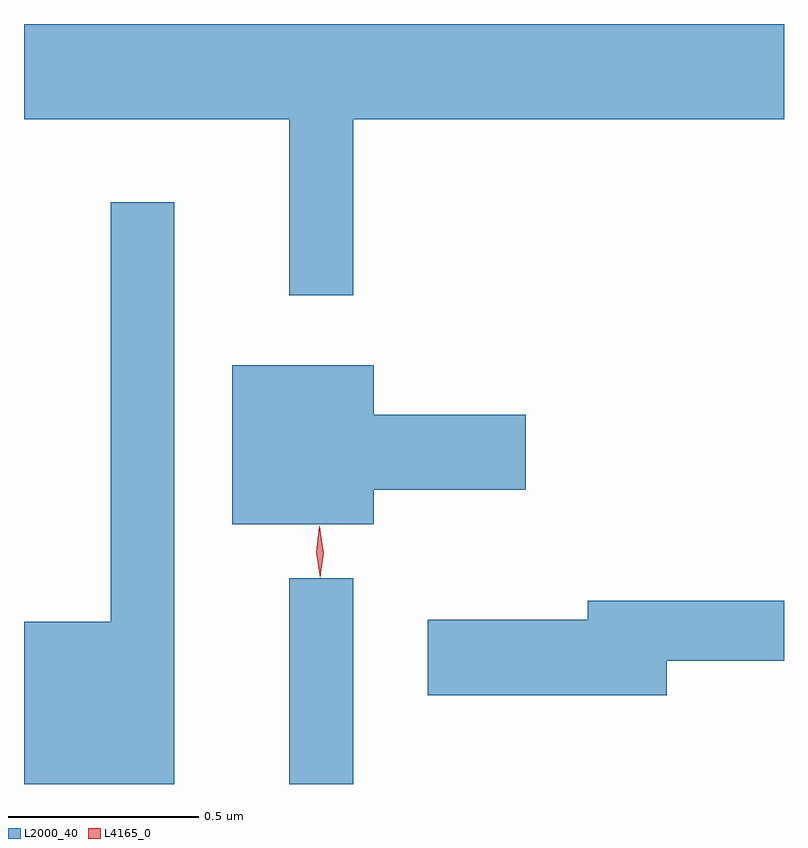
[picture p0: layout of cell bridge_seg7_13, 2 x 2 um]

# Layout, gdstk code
import gdstk
lib = gdstk.Library(unit=1e-6, precision=1e-09)
def R(c, l, rs):  # rectangles x0, y0, x1, y1
    for r in rs: c.add(gdstk.rectangle(r[:2], r[2:], *l))
def P(c, l, *ps):  # polygons
    for p in ps: c.add(gdstk.Polygon(p, *l))
L2000_40 = (2000, 40)
L4165_0 = (4165, 0)

bridge_seg7_13 = lib.new_cell('bridge_seg7_13')
R(bridge_seg7_13, L2000_40, [(1690.831,1768.067,1690.999,1768.608)])
P(bridge_seg7_13, L2000_40, [(1690.999,1769.816),(1692.133,1769.816),(1692.133,1770.067),(1690.133,1770.067),(1690.133,1769.816),(1690.831,1769.816),(1690.831,1769.353),(1690.999,1769.353)],
  [(1690.529,1769.598),(1690.361,1769.598),(1690.361,1768.494),(1690.133,1768.494),(1690.133,1768.067),(1690.529,1768.067)],
  [(1691.054,1768.841),(1691.454,1768.841),(1691.454,1769.039),(1691.054,1769.039),(1691.054,1769.169),(1690.681,1769.169),(1690.681,1768.751),(1691.054,1768.751)],
  [(1691.824,1768.391),(1692.133,1768.391),(1692.133,1768.549),(1691.616,1768.549),(1691.616,1768.499),(1691.196,1768.499),(1691.196,1768.301),(1691.824,1768.301)])
P(bridge_seg7_13, L4165_0, [(1690.912,1768.613),(1690.912,1768.613),(1690.902,1768.676),(1690.91,1768.739),(1690.911,1768.74),(1690.911,1768.739),(1690.922,1768.676),(1690.913,1768.613)],
  [(1690.912,1768.609),(1690.912,1768.61),(1690.902,1768.677),(1690.91,1768.745),(1690.911,1768.745),(1690.911,1768.745),(1690.921,1768.678),(1690.913,1768.61)])

lib.write_gds('bridge_seg7_13.gds')
